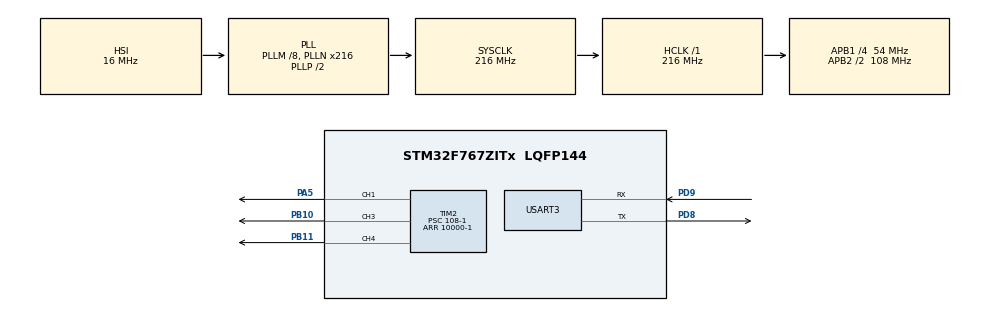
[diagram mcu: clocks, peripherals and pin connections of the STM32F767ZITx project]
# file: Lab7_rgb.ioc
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CORTEX_M7.default_mode_Activation=1
Mcu.Family=STM32F7
Mcu.Name=STM32F767ZITx
Mcu.Package=LQFP144
NVIC.PriorityGroup=NVIC_PRIORITYGROUP_4
PA5.GPIO_Speed=GPIO_SPEED_FREQ_VERY_HIGH
PA5.Signal=S_TIM2_CH1_ETR
PB10.GPIO_Speed=GPIO_SPEED_FREQ_VERY_HIGH
PB10.Signal=S_TIM2_CH3
PB11.GPIO_Speed=GPIO_SPEED_FREQ_VERY_HIGH
PB11.Signal=S_TIM2_CH4
PD8.Mode=Asynchronous
PD8.Signal=USART3_TX
PD9.Mode=Asynchronous
PD9.Signal=USART3_RX
ProjectManager.HeapSize=0x200
ProjectManager.StackSize=0x400
ProjectManager.TargetToolchain=STM32CubeIDE
RCC.AHBFreq_Value=216000000
RCC.APB1CLKDivider=RCC_HCLK_DIV4
RCC.APB1Freq_Value=54000000
RCC.APB1TimFreq_Value=108000000
RCC.APB2CLKDivider=RCC_HCLK_DIV2
RCC.APB2Freq_Value=108000000
RCC.APB2TimFreq_Value=216000000
RCC.CortexFreq_Value=216000000
RCC.HCLKFreq_Value=216000000
RCC.HSE_VALUE=25000000
RCC.HSI_VALUE=16000000
RCC.LSE_VALUE=32768
RCC.PLLM=8
RCC.PLLN=216
RCC.SYSCLKFreq_VALUE=216000000
RCC.SYSCLKSource=RCC_SYSCLKSOURCE_PLLCLK
RCC.USBFreq_Value=216000000
RCC.VCOOutputFreq_Value=432000000
SH.S_TIM2_CH1_ETR.0=TIM2_CH1,PWM Generation1 CH1
SH.S_TIM2_CH3.0=TIM2_CH3,PWM Generation3 CH3
SH.S_TIM2_CH4.0=TIM2_CH4,PWM Generation4 CH4
TIM2.Channel-PWM\ Generation1\ CH1=TIM_CHANNEL_1
TIM2.Channel-PWM\ Generation3\ CH3=TIM_CHANNEL_3
TIM2.Channel-PWM\ Generation4\ CH4=TIM_CHANNEL_4
TIM2.Period=10000-1
TIM2.Prescaler=108-1
TIM2.Pulse-PWM\ Generation3\ CH3=10000/4-1
USART3.VirtualMode-Asynchronous=VM_ASYNC
VP_TIM2_VS_ClockSourceINT.Mode=Internal
board=custom

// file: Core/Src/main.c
/* USER CODE BEGIN Header */
/**
  ******************************************************************************
  * @file           : main.c
  * @brief          : Main program body
  ******************************************************************************
  * @attention
  *
  * Copyright (c) 2025 STMicroelectronics.
  * All rights reserved.
  *
  * This software is licensed under terms that can be found in the LICENSE file
  * in the root directory of this software component.
  * If no LICENSE file comes with this software, it is provided AS-IS.
  *
  ******************************************************************************
  */
/* USER CODE END Header */
#include "main.h"
#include "tim.h"
#include "usart.h"
#include "gpio.h"

/* USER CODE BEGIN Includes */
#include <stdio.h>
#include <string.h>

/* USER CODE END Includes */

void SystemClock_Config(void);
static void MPU_Config(void);

/* USER CODE BEGIN 0 */
int pwm_r;
int pwm_g;
int pwm_b;

int pwm_r_shifted;
int pwm_g_shifted;
/* USER CODE END 0 */

int main(void)
{

  /* MPU Configuration--------------------------------------------------------*/
  MPU_Config();

  /* MCU Configuration--------------------------------------------------------*/

  /* Reset of all peripherals, Initializes the Flash interface and the Systick. */
  HAL_Init();

  /* Configure the system clock */
  SystemClock_Config();

  /* Initialize all configured peripherals */
  MX_GPIO_Init();
  MX_TIM2_Init();
  MX_USART3_UART_Init();

  /* Infinite loop */
  /* USER CODE BEGIN WHILE */
  int duty_percentage_r = 0;
  int duty_percentage_g = 0;
  int duty_percentage_b = 0;

  HAL_TIM_PWM_Start(&htim2, TIM_CHANNEL_1);
  HAL_TIM_PWM_Start(&htim2, TIM_CHANNEL_3);
  HAL_TIM_PWM_Start(&htim2, TIM_CHANNEL_4);
  while (1)
  {
    /* USER CODE END WHILE */

    /* USER CODE BEGIN 3 */
	  char op;
	  if (HAL_UART_Receive(&huart3, (uint8_t*)&op, 1, 100) == HAL_OK) {
	      char resp[30];
	      if (op == 'r') {
	          duty_percentage_r = (duty_percentage_r + 20) % 120;
	          sprintf(resp, "Red Duty Cycle: %d%%\r\n", duty_percentage_r);
	          HAL_UART_Transmit(&huart3, (uint8_t*)resp, strlen(resp), 100);
	      } else if (op == 'g') {
	          duty_percentage_g = (duty_percentage_g + 20) % 120;
	          sprintf(resp, "Green Duty Cycle: %d%%\r\n", duty_percentage_g);
	          HAL_UART_Transmit(&huart3, (uint8_t*)resp, strlen(resp), 100);
	      } else if (op == 'b') {
	          duty_percentage_b = (duty_percentage_b + 20) % 120;
	          sprintf(resp, "Blue Duty Cycle: %d%%\r\n", duty_percentage_b);
	          HAL_UART_Transmit(&huart3, (uint8_t*)resp, strlen(resp), 100);
	      }
	  }

	  htim2.Instance -> CCR1 = (10000-1) * duty_percentage_r/100.0;
	  htim2.Instance -> CCR3 = (10000-1) * duty_percentage_g/100.0;
	  htim2.Instance -> CCR4 = (10000-1) * duty_percentage_b/100.0;

	  HAL_Delay(100);

//	  HAL_TIM_PWM_Stop(&htim2, TIM_CHANNEL_1);
//	  HAL_TIM_PWM_Stop(&htim2, TIM_CHANNEL_3);
//	  HAL_TIM_PWM_Stop(&htim2, TIM_CHANNEL_4);

	  pwm_r = (GPIOA->IDR & GPIO_PIN_5) >> 5;
	  pwm_g = (GPIOB->IDR & GPIO_PIN_10) >> 10;
	  pwm_b = (GPIOB->IDR & GPIO_PIN_11) >> 11;

	  pwm_r_shifted = pwm_r + 4;
	  pwm_g_shifted = pwm_g + 2;
  }
  /* USER CODE END 3 */
}

void SystemClock_Config(void)
{
  RCC_OscInitTypeDef RCC_OscInitStruct = {0};
  RCC_ClkInitTypeDef RCC_ClkInitStruct = {0};

  /** Configure the main internal regulator output voltage
  */
  __HAL_RCC_PWR_CLK_ENABLE();
  __HAL_PWR_VOLTAGESCALING_CONFIG(PWR_REGULATOR_VOLTAGE_SCALE1);

  /** Initializes the RCC Oscillators according to the specified parameters
  * in the RCC_OscInitTypeDef structure.
  */
  RCC_OscInitStruct.OscillatorType = RCC_OSCILLATORTYPE_HSI;
  RCC_OscInitStruct.HSIState = RCC_HSI_ON;
  RCC_OscInitStruct.HSICalibrationValue = RCC_HSICALIBRATION_DEFAULT;
  RCC_OscInitStruct.PLL.PLLState = RCC_PLL_ON;
  RCC_OscInitStruct.PLL.PLLSource = RCC_PLLSOURCE_HSI;
  RCC_OscInitStruct.PLL.PLLM = 8;
  RCC_OscInitStruct.PLL.PLLN = 216;
  RCC_OscInitStruct.PLL.PLLP = RCC_PLLP_DIV2;
  RCC_OscInitStruct.PLL.PLLQ = 2;
  RCC_OscInitStruct.PLL.PLLR = 2;
  if (HAL_RCC_OscConfig(&RCC_OscInitStruct) != HAL_OK)
  {
    Error_Handler();
  }

  /** Activate the Over-Drive mode
  */
  if (HAL_PWREx_EnableOverDrive() != HAL_OK)
  {
    Error_Handler();
  }

  /** Initializes the CPU, AHB and APB buses clocks
  */
  RCC_ClkInitStruct.ClockType = RCC_CLOCKTYPE_HCLK|RCC_CLOCKTYPE_SYSCLK
                              |RCC_CLOCKTYPE_PCLK1|RCC_CLOCKTYPE_PCLK2;
  RCC_ClkInitStruct.SYSCLKSource = RCC_SYSCLKSOURCE_PLLCLK;
  RCC_ClkInitStruct.AHBCLKDivider = RCC_SYSCLK_DIV1;
  RCC_ClkInitStruct.APB1CLKDivider = RCC_HCLK_DIV4;
  RCC_ClkInitStruct.APB2CLKDivider = RCC_HCLK_DIV2;

  if (HAL_RCC_ClockConfig(&RCC_ClkInitStruct, FLASH_LATENCY_7) != HAL_OK)
  {
    Error_Handler();
  }
}

 /* MPU Configuration */

void MPU_Config(void)
{
  MPU_Region_InitTypeDef MPU_InitStruct = {0};

  /* Disables the MPU */
  HAL_MPU_Disable();

  /** Initializes and configures the Region and the memory to be protected
  */
  MPU_InitStruct.Enable = MPU_REGION_ENABLE;
  MPU_InitStruct.Number = MPU_REGION_NUMBER0;
  MPU_InitStruct.BaseAddress = 0x0;
  MPU_InitStruct.Size = MPU_REGION_SIZE_4GB;
  MPU_InitStruct.SubRegionDisable = 0x87;
  MPU_InitStruct.TypeExtField = MPU_TEX_LEVEL0;
  MPU_InitStruct.AccessPermission = MPU_REGION_NO_ACCESS;
  MPU_InitStruct.DisableExec = MPU_INSTRUCTION_ACCESS_DISABLE;
  MPU_InitStruct.IsShareable = MPU_ACCESS_SHAREABLE;
  MPU_InitStruct.IsCacheable = MPU_ACCESS_NOT_CACHEABLE;
  MPU_InitStruct.IsBufferable = MPU_ACCESS_NOT_BUFFERABLE;

  HAL_MPU_ConfigRegion(&MPU_InitStruct);
  /* Enables the MPU */
  HAL_MPU_Enable(MPU_PRIVILEGED_DEFAULT);

}

void Error_Handler(void)
{
  __disable_irq();
  while (1)
  {
  }
}
